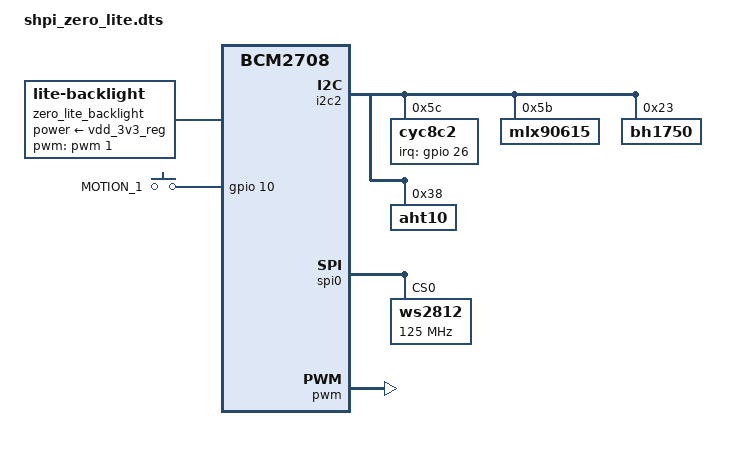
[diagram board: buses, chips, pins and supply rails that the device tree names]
/dts-v1/;
/plugin/;

/{
compatible = "brcm,bcm2835", "brcm,bcm2708";


        fragment@0 {
                target = <&spi0_pins>;
                __overlay__ {
                        brcm,pins = <>;
                        brcm,function = <4>;
                };
        };


	fragment@1 {
                target = <&spi0_cs_pins>;
                frag1: __overlay__ {
                        brcm,pins = <8>;
                        brcm,function = <6>; /* fake ALT2 for SPI CS */
                };
        };


	fragment@2 {
		target = <&fb>;
		__overlay__ {
			pinctrl-names = "default";
			pinctrl-0 = <&dpi18_pins>;
		};
	};

	fragment@3 {
		target = <&vc4>;
		__overlay__ {
			pinctrl-names = "default";
			pinctrl-0 = <&dpi18_pins>;
		};
	};


	fragment@4 {
                target = <&gpio>;
                __overlay__ {
                        cyc8c2_pins: cyc8c2_pins {
                                brcm,pins = <26>; // interrupt
                                brcm,function = <0>; // in
                                brcm,pull = <0>; // pull-down
                        };
                };
        };


	fragment@5 {
        target = <&i2c2>;

        __overlay__ {
            #address-cells = <1>;
            #size-cells = <0>;
            status = "okay";
            cyc8c2: cyc8c2@5c {
                compatible = "cyc8c2";
                reg = <0x5c>;
                pinctrl-names = "default";
                pinctrl-0 = <&cyc8c2_pins>;
                interrupt-parent = <&gpio>;
                interrupts = <26 2>;
		sensivity = <0x20>;
                irq-gpios = <&gpio 26 0>;
                #clk-gpio = <&gpio 2 0>;
                #mosi-gpio = <&gpio 18 0>;
                #cs-gpio = <&gpio 19 0>;
                touchscreen-inverted-x;
                touchscreen-inverted-y;


            };
        };
    };





   fragment@6 {
        target = <&spidev0>;
        __overlay__ {
            status = "disabled";
         };
    };

   fragment@7 {
        target = <&spidev1>;
        __overlay__ {
            status = "disabled";
        };
    };

   fragment@8 {
        target = <&i2c2>;
        __overlay__ {
            status = "okay";
        };
    };


   fragment@9 {
		target = <&spi0>;
		__overlay__ {
			/* needed to avoid dtc warning */
			#address-cells = <1>;
			#size-cells = <0>;
			status = "okay";
			cs-gpios = <>;
			ws2812@0{
				compatible = "ws2812";
				reg = <0>;
                                spi-max-frequency = <125000000>;
				num-leds = <1>;
				color-order= "GRB"; 
				is-zero-lite = <1>;
				#address-cells = <1>;
	                        #size-cells = <0>;

			};
		};



	};

       fragment@10 {
                target = <&gpio>;
                __overlay__ {

                        dpi18_pins: dpi18_pins {
                                brcm,pins = <0 1 2 3 4 5 6 7 9
                                             12 13 14 15 16 17 20
                                             21 22 23 24 25>; /* no 10, 19, 27 */
                                brcm,function = <6>; /* alt2 */
                                brcm,pull = <0>; /* no pull */
                        };


                };
        };



     fragment@11 {
                target = <&gpio>;
                __overlay__ {
                        pwm_pins: pwm_pins {
                                brcm,pins = <19>;
                                brcm,function = <2>;//alt5 to select PWM01
                        };
                };
        };


        fragment@12 {
                target = <&pwm>;
                frag12: __overlay__ {
                        pinctrl-names = "default";
                        pinctrl-0 = <&pwm_pins>;
                        assigned-clock-rates = <1000000>;
                        status = "okay";
                };
        };

        fragment@13 {
                target-path = "/";
                __overlay__ {
                        zero_lite_backlight: zero_lite_backlight {
                                compatible = "lite-backlight";
                                max-brightness = <4095>;
                                default-brightness-level = <2048>;
                                pwms = <&pwm 1 5000000>;
                                power-supply = <&vdd_3v3_reg>;
                                status = "okay";
                        };
                };
        };


    fragment@14 {
        target = <&i2c2>;
        __overlay__ {
            #address-cells = <1>;
            #size-cells = <0>;
            status = "okay";
            mlx90615@5b {
                compatible = "mlx90615";
                reg = <0x5b>;
            };
        };
    };

    fragment@15 {
        target = <&i2c2>;
        __overlay__ {
            #address-cells = <1>;
            #size-cells = <0>;
            status = "okay";
            bh1750@23 {
                compatible = "bh1750";
                reg = <0x23>;

            };
        };
    };

    fragment@16 {
        target = <&i2c2>;
        __overlay__ {
            #address-cells = <1>;
            #size-cells = <0>;
            status = "okay";
            aht10@38 {
                compatible = "aht10";
                reg = <0x38>;

            };
        };
    };





        fragment@20 {
                // Configure the gpio pin controller
                target = <&gpio>;
                __overlay__ {
                        pin_state: motion_pins {
                                brcm,pins = <10>; // gpio number
                                brcm,function = <0>; // 0 = input, 1 = output
                                brcm,pull = <1>; // 0 = none, 1 = pull down, 2 = pull up
                        };
                };
        };
        fragment@21 {
                target-path = "/";
                __overlay__ {
                        motion: motion {
                                compatible = "gpio-keys";
                                pinctrl-names = "default";
                                pinctrl-0 = <&pin_state>;
                                status = "okay";
                                autorepeat;

                                key: key {
                                        linux,code = <132>;
                                        gpios = <&gpio 10 0>;
                                        label = "MOTION_1";
                                };
                        };
                };
        };



        __overrides__ {
                pin   = <&pwm_pins>,"brcm,pins:0";
                func  = <&pwm_pins>,"brcm,function:0";
                clock = <&frag12>,"clock-frequency:0";
        };




};
